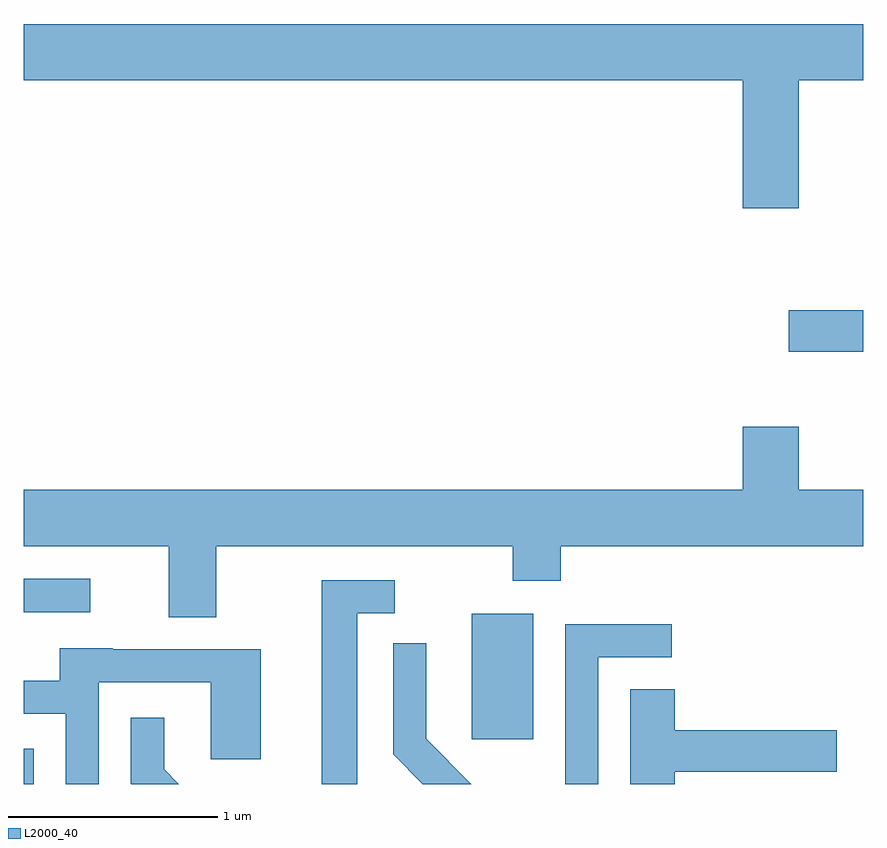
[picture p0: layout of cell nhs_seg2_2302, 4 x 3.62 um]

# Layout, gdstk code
import gdstk
lib = gdstk.Library(unit=1e-6, precision=1e-09)
def R(c, l, rs):  # rectangles x0, y0, x1, y1
    for r in rs: c.add(gdstk.rectangle(r[:2], r[2:], *l))
def P(c, l, *ps):  # polygons
    for p in ps: c.add(gdstk.Polygon(p, *l))
L2000_40 = (2000, 40)

nhs_seg2_2302 = lib.new_cell('nhs_seg2_2302')
R(nhs_seg2_2302, L2000_40, [(251.611,1093.802,251.659,1093.969), (253.746,1094.016,254.039,1094.614), (251.611,1094.621,251.928,1094.779), (255.256,1095.861,255.611,1096.059)])
P(nhs_seg2_2302, L2000_40, [(255.304,1097.156),(255.611,1097.156),(255.611,1097.424),(251.611,1097.424),(251.611,1097.156),(255.036,1097.156),(255.036,1096.546),(255.304,1096.546)],
  [(252.529,1094.936),(253.941,1094.936),(253.941,1094.771),(254.169,1094.771),(254.169,1094.936),(255.611,1094.936),(255.611,1095.204),(255.304,1095.204),(255.304,1095.504),(255.036,1095.504),(255.036,1095.204),(251.611,1095.204),(251.611,1094.936),(252.301,1094.936),(252.301,1094.596),(252.529,1094.596)],
  [(253.199,1094.616),(253.378,1094.616),(253.378,1094.774),(253.031,1094.774),(253.031,1093.802),(253.199,1093.802)],
  [(254.349,1094.406),(254.698,1094.406),(254.698,1094.564),(254.191,1094.564),(254.191,1093.802),(254.349,1093.802)],
  [(253.529,1094.017),(253.529,1094.473),(253.371,1094.473),(253.371,1093.944),(253.513,1093.802),(253.744,1093.802)],
  [(251.969,1094.286),(252.501,1094.286),(252.501,1093.921),(252.739,1093.921),(252.739,1094.444),(252.035,1094.444),(252.035,1094.449),(251.781,1094.449),(251.781,1094.294),(251.611,1094.294),(251.611,1094.136),(251.811,1094.136),(251.811,1093.802),(251.969,1093.802)],
  [(254.714,1093.861),(255.484,1093.861),(255.484,1094.059),(254.714,1094.059),(254.714,1094.254),(254.501,1094.254),(254.501,1093.802),(254.714,1093.802)],
  [(252.279,1093.872),(252.279,1094.118),(252.121,1094.118),(252.121,1093.804),(252.123,1093.802),(252.349,1093.802)])

lib.write_gds('nhs_seg2_2302.gds')
